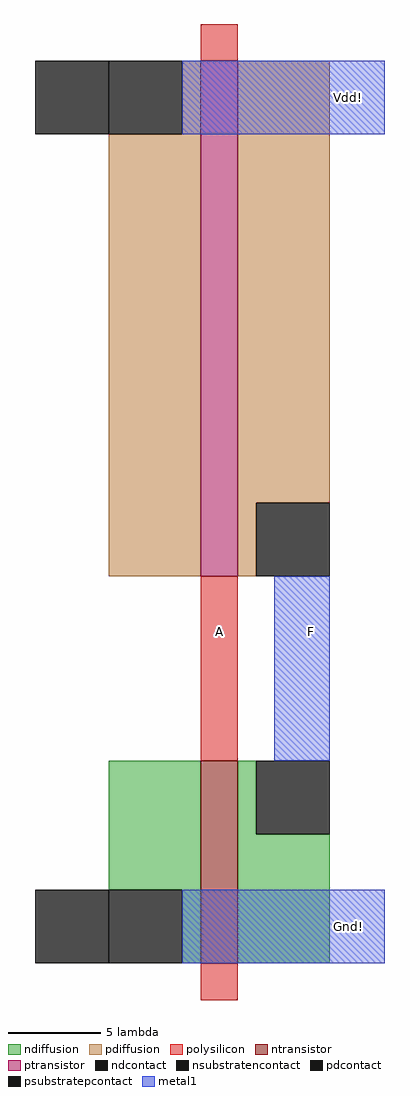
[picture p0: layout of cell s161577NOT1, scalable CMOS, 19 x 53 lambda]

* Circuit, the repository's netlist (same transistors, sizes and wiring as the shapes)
* SPICE3 file created from s161577NOT1.ext - technology: scmos

.option scale=1u
.include scmos_spice.prm

M1000 F A Vdd Vdd pfet w=28 l=2
+  ad=140 pd=66 as=140 ps=66
M1001 F A Gnd Gnd nfet w=11 l=2
+  ad=55 pd=32 as=55 ps=32

V11 Vdd Gnd 3.3
* V01 A Gnd PULSE(0 3.3 1ns 0.2ns 0.2ns 4ns 8.2ns)
V01 A Gnd EXP(0 3.3 1ns 0.2ns 4ns 0.2ns)

.TRAN 0.1ns 10ns

.end

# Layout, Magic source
magic
tech scmos
<< polysilicon >>
rect -1 29 1 31
rect -1 -9 1 1
rect -1 -22 1 -20
<< ndiffusion >>
rect -6 -16 -1 -9
rect -2 -20 -1 -16
rect 1 -13 2 -9
rect 1 -20 6 -13
<< pdiffusion >>
rect -2 25 -1 29
rect -6 1 -1 25
rect 1 5 6 29
rect 1 1 2 5
<< metal1 >>
rect -2 25 9 29
rect 3 -9 6 1
rect -2 -20 9 -16
<< ntransistor >>
rect -1 -20 1 -9
<< ptransistor >>
rect -1 1 1 29
<< ndcontact >>
rect -6 -20 -2 -16
rect 2 -13 6 -9
<< pdcontact >>
rect -6 25 -2 29
rect 2 1 6 5
<< psubstratepcontact >>
rect -10 -20 -6 -16
<< nsubstratencontact >>
rect -10 25 -6 29
<< labels >>
rlabel metal1 7 -18 7 -18 7 Gnd!
rlabel polysilicon 0 -2 0 -2 1 A
rlabel metal1 5 -2 5 -2 7 F
rlabel metal1 7 27 7 27 6 Vdd!
<< end >>
